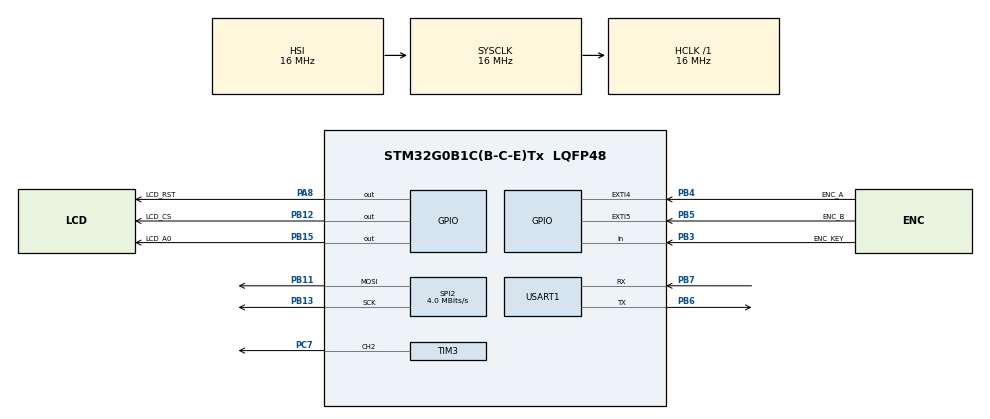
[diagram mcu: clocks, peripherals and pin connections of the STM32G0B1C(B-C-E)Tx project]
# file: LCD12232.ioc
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Dma.Request0=USART1_RX
Dma.USART1_RX.0.Direction=DMA_PERIPH_TO_MEMORY
Dma.USART1_RX.0.EventEnable=DISABLE
Dma.USART1_RX.0.Instance=DMA1_Channel1
Dma.USART1_RX.0.MemDataAlignment=DMA_MDATAALIGN_BYTE
Dma.USART1_RX.0.MemInc=DMA_MINC_ENABLE
Dma.USART1_RX.0.Mode=DMA_NORMAL
Dma.USART1_RX.0.PeriphDataAlignment=DMA_PDATAALIGN_BYTE
Dma.USART1_RX.0.PeriphInc=DMA_PINC_DISABLE
Dma.USART1_RX.0.Polarity=HAL_DMAMUX_REQ_GEN_RISING
Dma.USART1_RX.0.Priority=DMA_PRIORITY_LOW
Dma.USART1_RX.0.RequestNumber=1
Dma.USART1_RX.0.SignalID=NONE
Dma.USART1_RX.0.SyncEnable=DISABLE
Dma.USART1_RX.0.SyncPolarity=HAL_DMAMUX_SYNC_NO_EVENT
Dma.USART1_RX.0.SyncRequestNumber=1
Dma.USART1_RX.0.SyncSignalID=NONE
Mcu.Family=STM32G0
Mcu.Name=STM32G0B1C(B-C-E)Tx
Mcu.Package=LQFP48
NVIC.DMA1_Channel1_IRQn=true\:0\:0\:false\:false\:true\:false\:true\:true
NVIC.EXTI4_15_IRQn=true\:1\:0\:true\:false\:true\:true\:true\:true
NVIC.USART1_IRQn=true\:0\:0\:false\:false\:true\:true\:true\:true
PA13.Mode=Serial_Wire
PA13.Signal=SYS_SWDIO
PA14-BOOT0.Mode=Serial_Wire
PA14-BOOT0.Signal=SYS_SWCLK
PA8.GPIO_Label=LCD_RST
PA8.PinState=GPIO_PIN_SET
PA8.Signal=GPIO_Output
PB11.Mode=TX_Only_Simplex_Unidirect_Master
PB11.Signal=SPI2_MOSI
PB12.GPIO_Label=LCD_CS
PB12.PinState=GPIO_PIN_SET
PB12.Signal=GPIO_Output
PB13.Mode=TX_Only_Simplex_Unidirect_Master
PB13.Signal=SPI2_SCK
PB15.GPIO_Label=LCD_A0
PB15.Signal=GPIO_Output
PB3.GPIO_Label=ENC_KEY
PB3.GPIO_PuPd=GPIO_PULLUP
PB3.Signal=GPIO_Input
PB4.GPIO_Label=ENC_A
PB4.GPIO_ModeDefaultEXTI=GPIO_MODE_IT_FALLING
PB4.GPIO_PuPd=GPIO_PULLUP
PB4.Signal=GPXTI4
PB5.GPIO_Label=ENC_B
PB5.GPIO_ModeDefaultEXTI=GPIO_MODE_IT_FALLING
PB5.GPIO_PuPd=GPIO_PULLUP
PB5.Signal=GPXTI5
PB6.Mode=Asynchronous
PB6.Signal=USART1_TX
PB7.Mode=Asynchronous
PB7.Signal=USART1_RX
PC7.Signal=S_TIM3_CH2
ProjectManager.HeapSize=0x200
ProjectManager.StackSize=0x400
ProjectManager.TargetToolchain=MDK-ARM V5.32
RCC.AHBFreq_Value=16000000
RCC.CortexFreq_Value=16000000
RCC.EXTERNAL_CLOCK_VALUE=48000
RCC.HCLKFreq_Value=16000000
RCC.HSE_VALUE=8000000
RCC.HSI48_VALUE=48000000
RCC.HSI_VALUE=16000000
RCC.LSE_VALUE=32768
RCC.SYSCLKFreq_VALUE=16000000
RCC.USBFreq_Value=48000000
RCC.VCOOutputFreq_Value=128000000
SH.S_TIM3_CH2.0=TIM3_CH2,PWM Generation2 CH2
SPI2.BaudRatePrescaler=SPI_BAUDRATEPRESCALER_4
SPI2.CalculateBaudRate=4.0 MBits/s
SPI2.DataSize=SPI_DATASIZE_8BIT
SPI2.Direction=SPI_DIRECTION_2LINES
SPI2.Mode=SPI_MODE_MASTER
SPI2.NSSPMode=SPI_NSS_PULSE_DISABLE
SPI2.VirtualType=VM_MASTER
TIM3.Channel-PWM\ Generation2\ CH2=TIM_CHANNEL_2
TIM3.Period=999
TIM3.Prescaler=15
USART1.DMADisableonRxErrorParam=ADVFEATURE_DMA_DISABLEONRXERROR
USART1.OverrunDisableParam=ADVFEATURE_OVERRUN_DISABLE
USART1.VirtualMode-Asynchronous=VM_ASYNC
VP_SYS_VS_DBSignals.Mode=DisableDeadBatterySignals
board=custom

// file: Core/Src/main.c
/* USER CODE BEGIN Header */
/**
  ******************************************************************************
  * @file           : main.c
  * @brief          : Main program body
  ******************************************************************************
  * @attention
  *
  * Copyright (c) 2026 STMicroelectronics.
  * All rights reserved.
  *
  * This software is licensed under terms that can be found in the LICENSE file
  * in the root directory of this software component.
  * If no LICENSE file comes with this software, it is provided AS-IS.
  *
  ******************************************************************************
  */
/* USER CODE END Header */

#include "main.h"
#include "spi.h"
#include "tim.h"
#include "gpio.h"
#include "dl04d.h"

/* USER CODE BEGIN Includes */
#include "lcd12232.h"
#include "encoder.h"
#include <stdio.h>
#include <string.h>
#include "menu.h"
#include "multi_button.h"
#include "dma.h"
#include "usart.h"
/* USER CODE END Includes */

/* USER CODE BEGIN PTD */
extern const unsigned char gImage_1[488];
extern const unsigned char gImage_2[488];
extern const unsigned char gImage_3[488];
/* USER CODE END PTD */

/* USER CODE BEGIN PD */
static Button enc_btn;

static uint8_t read_enc_key(uint8_t id) {
    (void)id;
    return HAL_GPIO_ReadPin(ENC_KEY_PORT, ENC_KEY_PIN);
}

static void on_single_click(void *arg) {
    (void)arg;
    if (Menu_IsActive()) {
        Menu_ProcessClick();
    } else {
        App_ProcessClick();
    }
}

static void on_double_click(void *arg) {
    (void)arg;
    if (!Menu_IsActive()) {
        App_ProcessDoubleClick();
    }
}

static void on_long_press_start(void *arg) {
    (void)arg;
    if (Menu_IsActive()) {
        Menu_ProcessLongPress();
    } else {
        /* 主界面长按 3s → 进入 AUDIO 菜单 */
        Menu_Enter();
    }
}
/* USER CODE END PD */

/* USER CODE BEGIN PV */
#define RX_BUFFER_SIZE  256
uint8_t g_rxBufferDMA[RX_BUFFER_SIZE];
volatile uint16_t g_rxLength = 0;
/* USER CODE END PV */

void SystemClock_Config(void);

/* ================================================================ */
int main(void)
{
    /* MCU Init */
    HAL_Init();
    SystemClock_Config();

    /* Peripheral Init (CubeMX generated) */
    MX_GPIO_Init();
    MX_SPI2_Init();
    MX_TIM3_Init();
    MX_DMA_Init();
    MX_USART1_UART_Init();
    __HAL_UART_ENABLE_IT(&huart1, UART_IT_IDLE);
    HAL_UARTEx_ReceiveToIdle_DMA(&huart1, g_rxBufferDMA, RX_BUFFER_SIZE);

    /* Backlight PWM (50% duty) */
    HAL_TIM_PWM_Start(&htim3, TIM_CHANNEL_2);
    __HAL_TIM_SET_COMPARE(&htim3, TIM_CHANNEL_2, 800);

    HAL_Delay(500);          /* Wait for DL-04D boot */

    /* Init menu (backlight) */
    Menu_Init();

    /* Init encoder button (multi_button library) */
    button_init(&enc_btn, read_enc_key, 0, 0);
    button_attach(&enc_btn, SINGLE_CLICK,     on_single_click);
    button_attach(&enc_btn, DOUBLE_CLICK,     on_double_click);
    button_attach(&enc_btn, LONG_PRESS_START, on_long_press_start);
    button_start(&enc_btn);

    /* LCD Init + Show logo */
    LCD12232_Init();
    LCD12232_DispPic_122x32(gImage_2);

    HAL_Delay(3000);      /* Splash 3s */
    LCD12232_Clear();

    /* Encoder init + Enter Main Interface 1 */
    Encoder_Init();
    App_Init();

    /* Main loop */
    while (1)
    {
        Menu_ProcessPending();  /* 处理延迟的 DSP 操作 (避免在中断中阻塞) */
        if (!Menu_IsActive()) {
            App_Update();   /* 编辑闪烁计时 */
        }
        HAL_Delay(10);
    }
}

void SystemClock_Config(void)
{
  RCC_OscInitTypeDef RCC_OscInitStruct = {0};
  RCC_ClkInitTypeDef RCC_ClkInitStruct = {0};

  /* Power config */
  HAL_PWREx_ControlVoltageScaling(PWR_REGULATOR_VOLTAGE_SCALE1);

  /* Oscillator config */
  RCC_OscInitStruct.OscillatorType = RCC_OSCILLATORTYPE_HSI;
  RCC_OscInitStruct.HSIState = RCC_HSI_ON;
  RCC_OscInitStruct.HSIDiv = RCC_HSI_DIV1;
  RCC_OscInitStruct.HSICalibrationValue = RCC_HSICALIBRATION_DEFAULT;
  RCC_OscInitStruct.PLL.PLLState = RCC_PLL_NONE;

  if (HAL_RCC_OscConfig(&RCC_OscInitStruct) != HAL_OK)
  {
    Error_Handler();
  }

  /* Clock config */
  RCC_ClkInitStruct.ClockType = RCC_CLOCKTYPE_HCLK
                              | RCC_CLOCKTYPE_SYSCLK
                              | RCC_CLOCKTYPE_PCLK1;

  RCC_ClkInitStruct.SYSCLKSource = RCC_SYSCLKSOURCE_HSI;
  RCC_ClkInitStruct.AHBCLKDivider = RCC_SYSCLK_DIV1;
  RCC_ClkInitStruct.APB1CLKDivider = RCC_HCLK_DIV1;

  if (HAL_RCC_ClockConfig(&RCC_ClkInitStruct, FLASH_LATENCY_0) != HAL_OK)
  {
    Error_Handler();
  }
}

/* USER CODE BEGIN 4 */
void HAL_UARTEx_RxEventCallback(UART_HandleTypeDef *huart, uint16_t Size)
{
  if (huart->Instance == USART1 && Size > 0)
  {
    HAL_UART_Transmit(&huart1, g_rxBufferDMA, Size, 100);
    HAL_UARTEx_ReceiveToIdle_DMA(&huart1, g_rxBufferDMA, RX_BUFFER_SIZE);
  }
}
/* USER CODE END 4 */

void Error_Handler(void)
{
  __disable_irq();
  while (1)
  {
  }
}
